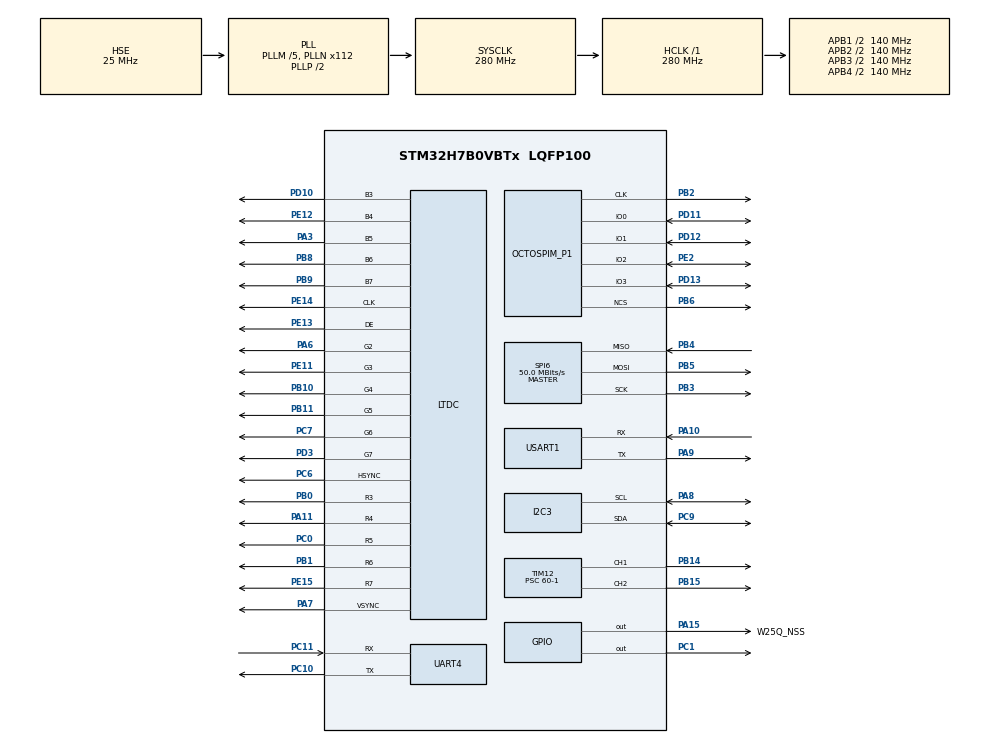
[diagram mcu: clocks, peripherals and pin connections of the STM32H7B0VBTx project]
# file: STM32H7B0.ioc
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ADC2.AWD1HighThreshold=0x3ffffff
ADC2.AWD1ITMode=ENABLE
ADC2.AWD1LowThreshold=0x4ccc
ADC2.Channel-0\#ChannelRegularConversion=ADC_CHANNEL_TEMPSENSOR
ADC2.ClockPrescaler=ADC_CLOCK_ASYNC_DIV8
ADC2.ContinuousConvMode=ENABLE
ADC2.EnableAnalogWatchDog1=true
ADC2.NbrOfConversionFlag=1
ADC2.OffsetNumber-0\#ChannelRegularConversion=ADC_OFFSET_NONE
ADC2.OffsetSignedSaturation-0\#ChannelRegularConversion=DISABLE
ADC2.Rank-0\#ChannelRegularConversion=1
ADC2.SamplingTime-0\#ChannelRegularConversion=ADC_SAMPLETIME_1CYCLE_5
ADC2.WatchdogChannel=ADC_CHANNEL_TEMPSENSOR
Bdma2.Request0=SPI6_TX
Bdma2.Request1=SPI6_RX
Bdma2.RequestsNb=2
Bdma2.SPI6_RX.1.Direction=DMA_PERIPH_TO_MEMORY
Bdma2.SPI6_RX.1.EventEnable=DISABLE
Bdma2.SPI6_RX.1.Instance=BDMA2_Channel2
Bdma2.SPI6_RX.1.MemDataAlignment=DMA_MDATAALIGN_BYTE
Bdma2.SPI6_RX.1.MemInc=DMA_MINC_ENABLE
Bdma2.SPI6_RX.1.Mode=DMA_NORMAL
Bdma2.SPI6_RX.1.PeriphDataAlignment=DMA_PDATAALIGN_BYTE
Bdma2.SPI6_RX.1.PeriphInc=DMA_PINC_DISABLE
Bdma2.SPI6_RX.1.Polarity=HAL_DMAMUX_REQ_GEN_RISING
Bdma2.SPI6_RX.1.Priority=DMA_PRIORITY_MEDIUM
Bdma2.SPI6_RX.1.RequestNumber=1
Bdma2.SPI6_RX.1.SignalID=NONE
Bdma2.SPI6_RX.1.SyncEnable=DISABLE
Bdma2.SPI6_RX.1.SyncPolarity=HAL_DMAMUX_SYNC_NO_EVENT
Bdma2.SPI6_RX.1.SyncRequestNumber=1
Bdma2.SPI6_RX.1.SyncSignalID=NONE
Bdma2.SPI6_TX.0.Direction=DMA_MEMORY_TO_PERIPH
Bdma2.SPI6_TX.0.EventEnable=DISABLE
Bdma2.SPI6_TX.0.Instance=BDMA2_Channel3
Bdma2.SPI6_TX.0.MemDataAlignment=DMA_MDATAALIGN_BYTE
Bdma2.SPI6_TX.0.MemInc=DMA_MINC_ENABLE
Bdma2.SPI6_TX.0.Mode=DMA_NORMAL
Bdma2.SPI6_TX.0.PeriphDataAlignment=DMA_PDATAALIGN_BYTE
Bdma2.SPI6_TX.0.PeriphInc=DMA_PINC_DISABLE
Bdma2.SPI6_TX.0.Polarity=HAL_DMAMUX_REQ_GEN_RISING
Bdma2.SPI6_TX.0.Priority=DMA_PRIORITY_MEDIUM
Bdma2.SPI6_TX.0.RequestNumber=1
Bdma2.SPI6_TX.0.SignalID=NONE
Bdma2.SPI6_TX.0.SyncEnable=DISABLE
Bdma2.SPI6_TX.0.SyncPolarity=HAL_DMAMUX_SYNC_NO_EVENT
Bdma2.SPI6_TX.0.SyncRequestNumber=1
Bdma2.SPI6_TX.0.SyncSignalID=NONE
CORTEX_M7.CPU_DCache=Enabled
CORTEX_M7.CPU_ICache=Enabled
CORTEX_M7.default_mode_Activation=1
DMA2D.ColorMode=DMA2D_OUTPUT_RGB565
Dma.ADC2.0.Direction=DMA_PERIPH_TO_MEMORY
Dma.ADC2.0.EventEnable=DISABLE
Dma.ADC2.0.FIFOMode=DMA_FIFOMODE_DISABLE
Dma.ADC2.0.Instance=DMA1_Stream0
Dma.ADC2.0.MemDataAlignment=DMA_MDATAALIGN_HALFWORD
Dma.ADC2.0.MemInc=DMA_MINC_ENABLE
Dma.ADC2.0.Mode=DMA_NORMAL
Dma.ADC2.0.PeriphDataAlignment=DMA_PDATAALIGN_HALFWORD
Dma.ADC2.0.PeriphInc=DMA_PINC_DISABLE
Dma.ADC2.0.Polarity=HAL_DMAMUX_REQ_GEN_RISING
Dma.ADC2.0.Priority=DMA_PRIORITY_LOW
Dma.ADC2.0.RequestNumber=1
Dma.ADC2.0.SignalID=NONE
Dma.ADC2.0.SyncEnable=DISABLE
Dma.ADC2.0.SyncPolarity=HAL_DMAMUX_SYNC_NO_EVENT
Dma.ADC2.0.SyncRequestNumber=1
Dma.ADC2.0.SyncSignalID=NONE
Dma.I2C3_RX.4.Direction=DMA_PERIPH_TO_MEMORY
Dma.I2C3_RX.4.EventEnable=DISABLE
Dma.I2C3_RX.4.FIFOMode=DMA_FIFOMODE_DISABLE
Dma.I2C3_RX.4.Instance=DMA1_Stream4
Dma.I2C3_RX.4.MemDataAlignment=DMA_MDATAALIGN_BYTE
Dma.I2C3_RX.4.MemInc=DMA_MINC_ENABLE
Dma.I2C3_RX.4.Mode=DMA_CIRCULAR
Dma.I2C3_RX.4.PeriphDataAlignment=DMA_PDATAALIGN_BYTE
Dma.I2C3_RX.4.PeriphInc=DMA_PINC_DISABLE
Dma.I2C3_RX.4.Polarity=HAL_DMAMUX_REQ_GEN_RISING
Dma.I2C3_RX.4.Priority=DMA_PRIORITY_LOW
Dma.I2C3_RX.4.RequestNumber=1
Dma.I2C3_RX.4.SignalID=NONE
Dma.I2C3_RX.4.SyncEnable=DISABLE
Dma.I2C3_RX.4.SyncPolarity=HAL_DMAMUX_SYNC_NO_EVENT
Dma.I2C3_RX.4.SyncRequestNumber=1
Dma.I2C3_RX.4.SyncSignalID=NONE
Dma.I2C3_TX.3.Direction=DMA_MEMORY_TO_PERIPH
Dma.I2C3_TX.3.EventEnable=DISABLE
Dma.I2C3_TX.3.FIFOMode=DMA_FIFOMODE_DISABLE
Dma.I2C3_TX.3.Instance=DMA1_Stream3
Dma.I2C3_TX.3.MemDataAlignment=DMA_MDATAALIGN_BYTE
Dma.I2C3_TX.3.MemInc=DMA_MINC_ENABLE
Dma.I2C3_TX.3.Mode=DMA_NORMAL
Dma.I2C3_TX.3.PeriphDataAlignment=DMA_PDATAALIGN_BYTE
Dma.I2C3_TX.3.PeriphInc=DMA_PINC_DISABLE
Dma.I2C3_TX.3.Polarity=HAL_DMAMUX_REQ_GEN_RISING
Dma.I2C3_TX.3.Priority=DMA_PRIORITY_LOW
Dma.I2C3_TX.3.RequestNumber=1
Dma.I2C3_TX.3.SignalID=NONE
Dma.I2C3_TX.3.SyncEnable=DISABLE
Dma.I2C3_TX.3.SyncPolarity=HAL_DMAMUX_SYNC_NO_EVENT
Dma.I2C3_TX.3.SyncRequestNumber=1
Dma.I2C3_TX.3.SyncSignalID=NONE
Dma.Request0=ADC2
Dma.Request1=USART1_RX
Dma.Request2=USART1_TX
Dma.Request3=I2C3_TX
Dma.Request4=I2C3_RX
Dma.Request5=UART4_RX
Dma.Request6=UART4_TX
Dma.UART4_RX.5.Direction=DMA_PERIPH_TO_MEMORY
Dma.UART4_RX.5.EventEnable=DISABLE
Dma.UART4_RX.5.FIFOMode=DMA_FIFOMODE_DISABLE
Dma.UART4_RX.5.Instance=DMA1_Stream5
Dma.UART4_RX.5.MemDataAlignment=DMA_MDATAALIGN_BYTE
Dma.UART4_RX.5.MemInc=DMA_MINC_ENABLE
Dma.UART4_RX.5.Mode=DMA_CIRCULAR
Dma.UART4_RX.5.PeriphDataAlignment=DMA_PDATAALIGN_BYTE
Dma.UART4_RX.5.PeriphInc=DMA_PINC_DISABLE
Dma.UART4_RX.5.Polarity=HAL_DMAMUX_REQ_GEN_RISING
Dma.UART4_RX.5.Priority=DMA_PRIORITY_LOW
Dma.UART4_RX.5.RequestNumber=1
Dma.UART4_RX.5.SignalID=NONE
Dma.UART4_RX.5.SyncEnable=DISABLE
Dma.UART4_RX.5.SyncPolarity=HAL_DMAMUX_SYNC_NO_EVENT
Dma.UART4_RX.5.SyncRequestNumber=1
Dma.UART4_RX.5.SyncSignalID=NONE
Dma.UART4_TX.6.Direction=DMA_MEMORY_TO_PERIPH
Dma.UART4_TX.6.EventEnable=DISABLE
Dma.UART4_TX.6.FIFOMode=DMA_FIFOMODE_DISABLE
Dma.UART4_TX.6.Instance=DMA1_Stream6
Dma.UART4_TX.6.MemDataAlignment=DMA_MDATAALIGN_BYTE
Dma.UART4_TX.6.MemInc=DMA_MINC_ENABLE
Dma.UART4_TX.6.Mode=DMA_NORMAL
Dma.UART4_TX.6.PeriphDataAlignment=DMA_PDATAALIGN_BYTE
Dma.UART4_TX.6.PeriphInc=DMA_PINC_DISABLE
Dma.UART4_TX.6.Polarity=HAL_DMAMUX_REQ_GEN_RISING
Dma.UART4_TX.6.Priority=DMA_PRIORITY_LOW
Dma.UART4_TX.6.RequestNumber=1
Dma.UART4_TX.6.SignalID=NONE
Dma.UART4_TX.6.SyncEnable=DISABLE
Dma.UART4_TX.6.SyncPolarity=HAL_DMAMUX_SYNC_NO_EVENT
Dma.UART4_TX.6.SyncRequestNumber=1
Dma.UART4_TX.6.SyncSignalID=NONE
Dma.USART1_RX.1.Direction=DMA_PERIPH_TO_MEMORY
Dma.USART1_RX.1.EventEnable=DISABLE
Dma.USART1_RX.1.FIFOMode=DMA_FIFOMODE_DISABLE
Dma.USART1_RX.1.Instance=DMA1_Stream1
Dma.USART1_RX.1.MemDataAlignment=DMA_MDATAALIGN_BYTE
Dma.USART1_RX.1.MemInc=DMA_MINC_ENABLE
Dma.USART1_RX.1.Mode=DMA_CIRCULAR
Dma.USART1_RX.1.PeriphDataAlignment=DMA_PDATAALIGN_BYTE
Dma.USART1_RX.1.PeriphInc=DMA_PINC_DISABLE
Dma.USART1_RX.1.Polarity=HAL_DMAMUX_REQ_GEN_RISING
Dma.USART1_RX.1.Priority=DMA_PRIORITY_MEDIUM
Dma.USART1_RX.1.RequestNumber=1
Dma.USART1_RX.1.SignalID=NONE
Dma.USART1_RX.1.SyncEnable=DISABLE
Dma.USART1_RX.1.SyncPolarity=HAL_DMAMUX_SYNC_NO_EVENT
Dma.USART1_RX.1.SyncRequestNumber=1
Dma.USART1_RX.1.SyncSignalID=NONE
Dma.USART1_TX.2.Direction=DMA_MEMORY_TO_PERIPH
Dma.USART1_TX.2.EventEnable=DISABLE
Dma.USART1_TX.2.FIFOMode=DMA_FIFOMODE_DISABLE
Dma.USART1_TX.2.Instance=DMA1_Stream2
Dma.USART1_TX.2.MemDataAlignment=DMA_MDATAALIGN_BYTE
Dma.USART1_TX.2.MemInc=DMA_MINC_ENABLE
Dma.USART1_TX.2.Mode=DMA_NORMAL
Dma.USART1_TX.2.PeriphDataAlignment=DMA_PDATAALIGN_BYTE
Dma.USART1_TX.2.PeriphInc=DMA_PINC_DISABLE
Dma.USART1_TX.2.Polarity=HAL_DMAMUX_REQ_GEN_RISING
Dma.USART1_TX.2.Priority=DMA_PRIORITY_MEDIUM
Dma.USART1_TX.2.RequestNumber=1
Dma.USART1_TX.2.SignalID=NONE
Dma.USART1_TX.2.SyncEnable=DISABLE
Dma.USART1_TX.2.SyncPolarity=HAL_DMAMUX_SYNC_NO_EVENT
Dma.USART1_TX.2.SyncRequestNumber=1
Dma.USART1_TX.2.SyncSignalID=NONE
FREERTOS.BinarySemaphores01=BinarySem_DebugOutPut,Dynamic,NULL
FREERTOS.Events01=Event_lowPower,Dynamic,NULL
FREERTOS.INCLUDE_xEventGroupSetBitFromISR=1
FREERTOS.Mutexes01=Mutex_Usart1,Dynamic,NULL
FREERTOS.Tasks01=defaultTask,24,128,StartDefaultTask,As weak,NULL,Dynamic,NULL,NULL;testTask,48,128,StartTasktest,As weak,NULL,Static,testTaskBuffer,testTaskControlBlock;lowPowerTask,24,128,StartTask_lowPower,As weak,NULL,Dynamic,NULL,NULL
FREERTOS.configENABLE_FPU=1
I2C3.Timing=0x20B0CCFF
LTDC.ActiveH=480
LTDC.ActiveW=800
LTDC.Alpha_L0=255
LTDC.FBStartAdress_L0=0x24000000
LTDC.HBP=80
LTDC.HFP=200
LTDC.HSync=1
LTDC.ImageHeight_L0=480
LTDC.ImageWidth_L0=800
LTDC.Layers=0
LTDC.PixelFormat_L0=LTDC_PIXEL_FORMAT_RGB565
LTDC.VBP=40
LTDC.VFP=22
LTDC.VSync=1
LTDC.WindowX1_L0=800
LTDC.WindowY1_L0=480
Mcu.Family=STM32H7
Mcu.Name=STM32H7B0VBTx
Mcu.Package=LQFP100
NVIC.ADC_IRQn=true\:5\:0\:false\:false\:true\:true\:true\:true\:true
NVIC.BDMA2_Channel2_IRQn=true\:5\:0\:false\:false\:true\:true\:false\:true\:true
NVIC.BDMA2_Channel3_IRQn=true\:5\:0\:false\:false\:true\:true\:false\:true\:true
NVIC.DMA1_Stream0_IRQn=true\:9\:0\:true\:false\:true\:true\:false\:true\:true
NVIC.DMA1_Stream1_IRQn=true\:9\:0\:true\:false\:true\:true\:false\:true\:true
NVIC.DMA1_Stream2_IRQn=true\:9\:0\:true\:false\:true\:true\:false\:true\:true
NVIC.DMA1_Stream3_IRQn=true\:5\:0\:false\:false\:true\:true\:false\:true\:true
NVIC.DMA1_Stream4_IRQn=true\:5\:0\:false\:false\:true\:true\:false\:true\:true
NVIC.DMA1_Stream5_IRQn=true\:5\:0\:false\:false\:true\:true\:false\:true\:true
NVIC.DMA1_Stream6_IRQn=true\:5\:0\:false\:false\:true\:true\:false\:true\:true
NVIC.DMA2D_IRQn=true\:6\:0\:true\:false\:true\:true\:true\:true\:true
NVIC.I2C3_ER_IRQn=true\:5\:0\:false\:false\:true\:true\:true\:true\:true
NVIC.I2C3_EV_IRQn=true\:5\:0\:false\:false\:true\:true\:true\:true\:true
NVIC.LTDC_IRQn=true\:6\:0\:true\:false\:true\:true\:true\:true\:true
NVIC.PriorityGroup=NVIC_PRIORITYGROUP_4
NVIC.SPI6_IRQn=true\:5\:0\:false\:false\:true\:true\:true\:true\:true
NVIC.TIM17_IRQn=true\:0\:0\:true\:false\:true\:false\:false\:true\:true
NVIC.TimeBase=TIM17_IRQn
NVIC.TimeBaseIP=TIM17
NVIC.UART4_IRQn=true\:5\:0\:false\:false\:true\:true\:true\:true\:true
NVIC.USART1_IRQn=true\:5\:0\:false\:false\:true\:true\:true\:true\:true
OCTOSPI1.ChipSelectBoundary=0
OCTOSPI1.ClockMode=HAL_OSPI_CLOCK_MODE_3
OCTOSPI1.ClockPrescaler=2
OCTOSPI1.DeviceSize=23
OCTOSPI1.FifoThreshold=8
OCTOSPI1.SampleShifting=HAL_OSPI_SAMPLE_SHIFTING_HALFCYCLE
PA10.Mode=Asynchronous
PA10.Signal=USART1_RX
PA11.GPIO_Speed=GPIO_SPEED_FREQ_VERY_HIGH
PA11.Mode=RGB565
PA11.Signal=LTDC_R4
PA15.GPIO_Label=W25Q_NSS
PA15.GPIO_Speed=GPIO_SPEED_FREQ_VERY_HIGH
PA15.PinState=GPIO_PIN_SET
PA15.Signal=GPIO_Output
PA3.GPIO_Speed=GPIO_SPEED_FREQ_VERY_HIGH
PA3.Mode=RGB565
PA3.Signal=LTDC_B5
PA6.GPIO_Speed=GPIO_SPEED_FREQ_VERY_HIGH
PA6.Mode=RGB565
PA6.Signal=LTDC_G2
PA7.GPIO_Speed=GPIO_SPEED_FREQ_VERY_HIGH
PA7.Mode=RGB565
PA7.Signal=LTDC_VSYNC
PA8.Mode=I2C
PA8.Signal=I2C3_SCL
PA9.Mode=Asynchronous
PA9.Signal=USART1_TX
PB0.GPIO_Speed=GPIO_SPEED_FREQ_VERY_HIGH
PB0.Mode=RGB565
PB0.Signal=LTDC_R3
PB1.GPIO_Speed=GPIO_SPEED_FREQ_VERY_HIGH
PB1.Mode=RGB565
PB1.Signal=LTDC_R6
PB10.GPIO_Speed=GPIO_SPEED_FREQ_VERY_HIGH
PB10.Mode=RGB565
PB10.Signal=LTDC_G4
PB11.GPIO_Speed=GPIO_SPEED_FREQ_VERY_HIGH
PB11.Mode=RGB565
PB11.Signal=LTDC_G5
PB14.Signal=S_TIM12_CH1
PB15.Signal=S_TIM12_CH2
PB2.Mode=O1_P1_CLK
PB2.Signal=OCTOSPIM_P1_CLK
PB3.GPIO_Speed=GPIO_SPEED_FREQ_VERY_HIGH
PB3.Mode=Full_Duplex_Master
PB3.Signal=SPI6_SCK
PB4.GPIO_Speed=GPIO_SPEED_FREQ_VERY_HIGH
PB4.Mode=Full_Duplex_Master
PB4.Signal=SPI6_MISO
PB5.GPIO_Speed=GPIO_SPEED_FREQ_VERY_HIGH
PB5.Mode=Full_Duplex_Master
PB5.Signal=SPI6_MOSI
PB6.Mode=OCTOSPI1_Port1_NCS
PB6.Signal=OCTOSPIM_P1_NCS
PB8.GPIO_Speed=GPIO_SPEED_FREQ_VERY_HIGH
PB8.Mode=RGB565
PB8.Signal=LTDC_B6
PB9.GPIO_Speed=GPIO_SPEED_FREQ_VERY_HIGH
PB9.Mode=RGB565
PB9.Signal=LTDC_B7
PC0.GPIO_Speed=GPIO_SPEED_FREQ_VERY_HIGH
PC0.Mode=RGB565
PC0.Signal=LTDC_R5
PC1.Signal=GPIO_Output
PC10.Mode=Asynchronous
PC10.Signal=UART4_TX
PC11.Mode=Asynchronous
PC11.Signal=UART4_RX
PC14-OSC32_IN.Mode=LSE-External-Oscillator
PC14-OSC32_IN.Signal=RCC_OSC32_IN
PC15-OSC32_OUT.Mode=LSE-External-Oscillator
PC15-OSC32_OUT.Signal=RCC_OSC32_OUT
PC6.GPIO_Speed=GPIO_SPEED_FREQ_VERY_HIGH
PC6.Mode=RGB565
PC6.Signal=LTDC_HSYNC
PC7.GPIO_Speed=GPIO_SPEED_FREQ_VERY_HIGH
PC7.Mode=RGB565
PC7.Signal=LTDC_G6
PC9.Mode=I2C
PC9.Signal=I2C3_SDA
PD10.GPIO_Speed=GPIO_SPEED_FREQ_VERY_HIGH
PD10.Mode=RGB565
PD10.Signal=LTDC_B3
PD11.Mode=OCTOSPI1_IOL_Port1L
PD11.Signal=OCTOSPIM_P1_IO0
PD12.Mode=OCTOSPI1_IOL_Port1L
PD12.Signal=OCTOSPIM_P1_IO1
PD13.Mode=OCTOSPI1_IOL_Port1L
PD13.Signal=OCTOSPIM_P1_IO3
PD3.GPIO_Speed=GPIO_SPEED_FREQ_VERY_HIGH
PD3.Mode=RGB565
PD3.Signal=LTDC_G7
PD5.Signal=USART2_TX
PE11.GPIO_Speed=GPIO_SPEED_FREQ_VERY_HIGH
PE11.Mode=RGB565
PE11.Signal=LTDC_G3
PE12.GPIO_Speed=GPIO_SPEED_FREQ_VERY_HIGH
PE12.Mode=RGB565
PE12.Signal=LTDC_B4
PE13.GPIO_Speed=GPIO_SPEED_FREQ_VERY_HIGH
PE13.Mode=RGB565
PE13.Signal=LTDC_DE
PE14.GPIO_Speed=GPIO_SPEED_FREQ_VERY_HIGH
PE14.Mode=RGB565
PE14.Signal=LTDC_CLK
PE15.GPIO_Speed=GPIO_SPEED_FREQ_VERY_HIGH
PE15.Mode=RGB565
PE15.Signal=LTDC_R7
PE2.Mode=OCTOSPI1_IOL_Port1L
PE2.Signal=OCTOSPIM_P1_IO2
PH0-OSC_IN.Mode=HSE-External-Oscillator
PH0-OSC_IN.Signal=RCC_OSC_IN
PH1-OSC_OUT.Mode=HSE-External-Oscillator
PH1-OSC_OUT.Signal=RCC_OSC_OUT
ProjectManager.HeapSize=0x16000
ProjectManager.StackSize=0x12000
ProjectManager.TargetToolchain=MDK-ARM V5.32
RCC.ADCFreq_Value=20000000
RCC.APB1Freq_Value=140000000
RCC.APB2Freq_Value=140000000
RCC.APB3Freq_Value=140000000
RCC.APB4Freq_Value=140000000
RCC.CDPPRE=RCC_APB3_DIV2
RCC.CDPPRE1=RCC_APB1_DIV2
RCC.CDPPRE2=RCC_APB2_DIV2
RCC.CortexFreq_Value=280000000
RCC.DIVM1=5
RCC.DIVM2=2
RCC.DIVM3=2
RCC.DIVN1=112
RCC.DIVN2=40
RCC.DIVN3=11
RCC.DIVP2=25
RCC.DIVQ2=5
RCC.DIVR3=1
RCC.HCLKFreq_Value=280000000
RCC.HSE_VALUE=25000000
RCC.PLL1_VCI_Range-AdvancedSettings=RCC_PLL1VCIRANGE_0
RCC.PLL2_VCI_Range-AdvancedSettings=RCC_PLL2VCIRANGE_1
RCC.PLL2_VCO_SEL-AdvancedSettings=RCC_PLL2VCOMEDIUM
RCC.PLLSourceVirtual=RCC_PLLSOURCE_HSE
RCC.SPI6CLockSelection=RCC_SPI6CLKSOURCE_PLL2
RCC.SRDPPRE=RCC_APB4_DIV2
RCC.SYSCLKFreq_VALUE=280000000
RCC.SYSCLKSource=RCC_SYSCLKSOURCE_PLLCLK
RCC.SupplySource=PWR_LDO_SUPPLY
RCC.USBFreq_Value=280000000
SH.S_TIM12_CH1.0=TIM12_CH1,PWM Generation1 CH1
SH.S_TIM12_CH2.0=TIM12_CH2,PWM Generation2 CH2
SPI6.BaudRatePrescaler=SPI_BAUDRATEPRESCALER_2
SPI6.CalculateBaudRate=50.0 MBits/s
SPI6.DataSize=SPI_DATASIZE_8BIT
SPI6.Direction=SPI_DIRECTION_2LINES
SPI6.FifoThreshold=SPI_FIFO_THRESHOLD_01DATA
SPI6.MasterKeepIOState=SPI_MASTER_KEEP_IO_STATE_DISABLE
SPI6.Mode=SPI_MODE_MASTER
SPI6.NSSPMode=SPI_NSS_PULSE_DISABLE
SPI6.VirtualType=VM_MASTER
TIM12.AutoReloadPreload=TIM_AUTORELOAD_PRELOAD_ENABLE
TIM12.Channel-PWM\ Generation1\ CH1=TIM_CHANNEL_1
TIM12.Channel-PWM\ Generation2\ CH2=TIM_CHANNEL_2
TIM12.Period=10000-1
TIM12.Prescaler=60-1
TIM12.Pulse-PWM\ Generation1\ CH1=4999
TIM12.Pulse-PWM\ Generation2\ CH2=4999
USART1.VirtualMode-Asynchronous=VM_ASYNC
VP_ADC2_TempSens_Input.Mode=IN-TempSens
VP_DMA2D_VS_DMA2D.Mode=DMA2D_Activate
VP_FREERTOS_VS_CMSIS_V2.Mode=CMSIS_V2
VP_OCTOSPI1_VS_quad.Mode=quad_mode
VP_SYS_VS_tim17.Mode=TIM17
VP_TIM12_VS_ClockSourceINT.Mode=Internal
board=custom

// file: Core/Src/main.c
/* USER CODE BEGIN Header */
/**
  ******************************************************************************
  * @file           : main.c
  * @brief          : Main program body
  ******************************************************************************
  * @attention
  *
  * Copyright (c) 2023 STMicroelectronics.
  * All rights reserved.
  *
  * This software is licensed under terms that can be found in the LICENSE file
  * in the root directory of this software component.
  * If no LICENSE file comes with this software, it is provided AS-IS.
  *
  ******************************************************************************
  */
/* USER CODE END Header */
#include "main.h"
#include "cmsis_os.h"
#include "adc.h"
#include "bdma2.h"
#include "dma.h"
#include "dma2d.h"
#include "i2c.h"
#include "ltdc.h"
#include "octospi.h"
#include "spi.h"
#include "tim.h"
#include "usart.h"
#include "gpio.h"

/* USER CODE BEGIN Includes */
#include "led.h"
#include "kfifo.h"
#include "klist.h"
#include "common.h"
#include "shell_port.h"
#include "shell_port.h"
#include "perf_counter.h"

#define LOG_TAG    "main"
#include <elog.h>
#include "led.h"
#include "common.h"

#include "semphr.h"
#include "adc.h"
#include "usart.h"
#include "com.h"

//#include "cm_backtrace.h"

/* USER CODE END Includes */

/* USER CODE BEGIN PV */
//		 extern com_uart_t com;
/* USER CODE END PV */

void SystemClock_Config(void);
void PeriphCommonClock_Config(void);
static void MPU_Initialize(void);
static void MPU_Config(void);
void MX_FREERTOS_Init(void);

int main(void)
{
  /* USER CODE BEGIN 1 */
//cm_backtrace_init("0.1","0.1","0.1");
  /* USER CODE END 1 */

  /* Enable I-Cache---------------------------------------------------------*/
  SCB_EnableICache();

  /* Enable D-Cache---------------------------------------------------------*/
  SCB_EnableDCache();

  /* MCU Configuration--------------------------------------------------------*/

  /* Reset of all peripherals, Initializes the Flash interface and the Systick. */
  HAL_Init();

  /* MPU Configuration--------------------------------------------------------*/
  MPU_Config();

  /* USER CODE BEGIN Init */
	SCB->CACR|=1<<2;

  /* USER CODE END Init */

  /* Configure the system clock */
  SystemClock_Config();

/* Configure the peripherals common clocks */
  PeriphCommonClock_Config();

  /* Initialize all configured peripherals */
  MX_GPIO_Init();
  MX_DMA_Init();
  MX_BDMA2_Init();
  MX_DMA2D_Init();
  MX_LTDC_Init();
  MX_I2C3_Init();
  MX_SPI6_Init();
  MX_ADC2_Init();
  MX_USART1_UART_Init();
  MX_OCTOSPI1_Init();
  MX_UART4_Init();
  MX_TIM12_Init();
  /* USER CODE BEGIN 2 */

	    //! setup system clock

    /*! \brief Update SystemCoreClock with the latest CPU frequency
     *!        If the function doesn't exist or doesn't work correctly,
     *!        Please update SystemCoreClock directly with the correct
     *!        system frequency in Hz.
     *!
     *!        extern volatile uint32_t SystemCoreClock;
     */
    SystemCoreClockUpdate();

    /*! \brief initialize perf_counter() and pass true if SysTick is
     *!        occupied by user applications or RTOS, otherwise pass
     *!        false.
     */
    init_cycle_counter(true);

extern int com_port_init(void);

    com_port_init();

  /* USER CODE END 2 */

  /* Init scheduler */
  osKernelInitialize();  /* Call init function for freertos objects (in freertos.c) */
  MX_FREERTOS_Init();

  /* Start scheduler */
  osKernelStart();

  /* We should never get here as control is now taken by the scheduler */
  /* Infinite loop */
  while (1)
  {

  }
}

void SystemClock_Config(void)
{
  RCC_OscInitTypeDef RCC_OscInitStruct = {0};
  RCC_ClkInitTypeDef RCC_ClkInitStruct = {0};

  /*AXI clock gating */
  RCC->CKGAENR = 0xFFFFFFFF;

  /** Supply configuration update enable
  */
  HAL_PWREx_ConfigSupply(PWR_LDO_SUPPLY);

  /** Configure the main internal regulator output voltage
  */
  __HAL_PWR_VOLTAGESCALING_CONFIG(PWR_REGULATOR_VOLTAGE_SCALE0);

  while(!__HAL_PWR_GET_FLAG(PWR_FLAG_VOSRDY)) {}

  /** Initializes the RCC Oscillators according to the specified parameters
  * in the RCC_OscInitTypeDef structure.
  */
  RCC_OscInitStruct.OscillatorType = RCC_OSCILLATORTYPE_HSE;
  RCC_OscInitStruct.HSEState = RCC_HSE_ON;
  RCC_OscInitStruct.PLL.PLLState = RCC_PLL_ON;
  RCC_OscInitStruct.PLL.PLLSource = RCC_PLLSOURCE_HSE;
  RCC_OscInitStruct.PLL.PLLM = 5;
  RCC_OscInitStruct.PLL.PLLN = 112;
  RCC_OscInitStruct.PLL.PLLP = 2;
  RCC_OscInitStruct.PLL.PLLQ = 2;
  RCC_OscInitStruct.PLL.PLLR = 2;
  RCC_OscInitStruct.PLL.PLLRGE = RCC_PLL1VCIRANGE_2;
  RCC_OscInitStruct.PLL.PLLVCOSEL = RCC_PLL1VCOWIDE;
  RCC_OscInitStruct.PLL.PLLFRACN = 0;
  if (HAL_RCC_OscConfig(&RCC_OscInitStruct) != HAL_OK)
  {
    Error_Handler();
  }

  /** Initializes the CPU, AHB and APB buses clocks
  */
  RCC_ClkInitStruct.ClockType = RCC_CLOCKTYPE_HCLK|RCC_CLOCKTYPE_SYSCLK
                              |RCC_CLOCKTYPE_PCLK1|RCC_CLOCKTYPE_PCLK2
                              |RCC_CLOCKTYPE_D3PCLK1|RCC_CLOCKTYPE_D1PCLK1;
  RCC_ClkInitStruct.SYSCLKSource = RCC_SYSCLKSOURCE_PLLCLK;
  RCC_ClkInitStruct.SYSCLKDivider = RCC_SYSCLK_DIV1;
  RCC_ClkInitStruct.AHBCLKDivider = RCC_HCLK_DIV1;
  RCC_ClkInitStruct.APB3CLKDivider = RCC_APB3_DIV2;
  RCC_ClkInitStruct.APB1CLKDivider = RCC_APB1_DIV2;
  RCC_ClkInitStruct.APB2CLKDivider = RCC_APB2_DIV2;
  RCC_ClkInitStruct.APB4CLKDivider = RCC_APB4_DIV2;

  if (HAL_RCC_ClockConfig(&RCC_ClkInitStruct, FLASH_LATENCY_6) != HAL_OK)
  {
    Error_Handler();
  }
}

void PeriphCommonClock_Config(void)
{
  RCC_PeriphCLKInitTypeDef PeriphClkInitStruct = {0};

  /** Initializes the peripherals clock
  */
  PeriphClkInitStruct.PeriphClockSelection = RCC_PERIPHCLK_SPI6|RCC_PERIPHCLK_ADC;
  PeriphClkInitStruct.PLL2.PLL2M = 2;
  PeriphClkInitStruct.PLL2.PLL2N = 40;
  PeriphClkInitStruct.PLL2.PLL2P = 25;
  PeriphClkInitStruct.PLL2.PLL2Q = 5;
  PeriphClkInitStruct.PLL2.PLL2R = 2;
  PeriphClkInitStruct.PLL2.PLL2RGE = RCC_PLL2VCIRANGE_3;
  PeriphClkInitStruct.PLL2.PLL2VCOSEL = RCC_PLL2VCOWIDE;
  PeriphClkInitStruct.PLL2.PLL2FRACN = 0;
  PeriphClkInitStruct.AdcClockSelection = RCC_ADCCLKSOURCE_PLL2;
  PeriphClkInitStruct.Spi6ClockSelection = RCC_SPI6CLKSOURCE_PLL2;
  if (HAL_RCCEx_PeriphCLKConfig(&PeriphClkInitStruct) != HAL_OK)
  {
    Error_Handler();
  }
}

/* MPU Configuration */

void MPU_Config(void)
{
  MPU_Region_InitTypeDef MPU_InitStruct = {0};

  /* Disables the MPU */
  HAL_MPU_Disable();

  /** Initializes and configures the Region and the memory to be protected
  */
  MPU_InitStruct.Enable = MPU_REGION_ENABLE;
  MPU_InitStruct.Number = MPU_REGION_NUMBER0;
  MPU_InitStruct.BaseAddress = 0x0;
  MPU_InitStruct.Size = MPU_REGION_SIZE_4GB;
  MPU_InitStruct.SubRegionDisable = 0x87;
  MPU_InitStruct.TypeExtField = MPU_TEX_LEVEL0;
  MPU_InitStruct.AccessPermission = MPU_REGION_NO_ACCESS;
  MPU_InitStruct.DisableExec = MPU_INSTRUCTION_ACCESS_DISABLE;
  MPU_InitStruct.IsShareable = MPU_ACCESS_SHAREABLE;
  MPU_InitStruct.IsCacheable = MPU_ACCESS_NOT_CACHEABLE;
  MPU_InitStruct.IsBufferable = MPU_ACCESS_NOT_BUFFERABLE;

  HAL_MPU_ConfigRegion(&MPU_InitStruct);
  /* Enables the MPU */
  HAL_MPU_Enable(MPU_PRIVILEGED_DEFAULT);

}

void HAL_TIM_PeriodElapsedCallback(TIM_HandleTypeDef *htim)
{
  if (htim->Instance == TIM17) {
    HAL_IncTick();
  }
}

void Error_Handler(void)
{
  __disable_irq();
  while (1)
  {
  }
}

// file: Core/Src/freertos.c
/* USER CODE BEGIN Header */
/**
  ******************************************************************************
  * File Name          : freertos.c
  * Description        : Code for freertos applications
  ******************************************************************************
  * @attention
  *
  * Copyright (c) 2023 STMicroelectronics.
  * All rights reserved.
  *
  * This software is licensed under terms that can be found in the LICENSE file
  * in the root directory of this software component.
  * If no LICENSE file comes with this software, it is provided AS-IS.
  *
  ******************************************************************************
  */
/* USER CODE END Header */

#include "FreeRTOS.h"
#include "task.h"
#include "main.h"
#include "cmsis_os.h"

/* USER CODE BEGIN Includes */
#define LOG_TAG    "freertos"

#include "led.h"
#include "common.h"
#include "semphr.h"
#include "adc.h"
#include "usart.h"
//#include "com_component.h"
#include "perf_counter.h"

#include "elog.h"
#include "tim.h"
#include "spi_w25q64.h"

/* USER CODE END Includes */

typedef StaticTask_t osStaticThreadDef_t;

/* USER CODE BEGIN Variables */
SemaphoreHandle_t xMutex_Usart1;

/* USER CODE END Variables */
/* Definitions for defaultTask */
osThreadId_t defaultTaskHandle;
const osThreadAttr_t defaultTask_attributes = {
  .name = "defaultTask",
  .stack_size = 128 * 4,
  .priority = (osPriority_t) osPriorityNormal,
};
/* Definitions for testTask */
osThreadId_t testTaskHandle;
uint32_t testTaskBuffer[ 128 ];
osStaticThreadDef_t testTaskControlBlock;
const osThreadAttr_t testTask_attributes = {
  .name = "testTask",
  .cb_mem = &testTaskControlBlock,
  .cb_size = sizeof(testTaskControlBlock),
  .stack_mem = &testTaskBuffer[0],
  .stack_size = sizeof(testTaskBuffer),
  .priority = (osPriority_t) osPriorityRealtime,
};
/* Definitions for lowPowerTask */
osThreadId_t lowPowerTaskHandle;
const osThreadAttr_t lowPowerTask_attributes = {
  .name = "lowPowerTask",
  .stack_size = 128 * 4,
  .priority = (osPriority_t) osPriorityNormal,
};
/* Definitions for Mutex_Usart1 */
osMutexId_t Mutex_Usart1Handle;
const osMutexAttr_t Mutex_Usart1_attributes = {
  .name = "Mutex_Usart1"
};
/* Definitions for BinarySem_DebugOutPut */
osSemaphoreId_t BinarySem_DebugOutPutHandle;
const osSemaphoreAttr_t BinarySem_DebugOutPut_attributes = {
  .name = "BinarySem_DebugOutPut"
};
/* Definitions for Event_lowPower */
osEventFlagsId_t Event_lowPowerHandle;
const osEventFlagsAttr_t Event_lowPower_attributes = {
  .name = "Event_lowPower"
};

void StartDefaultTask(void *argument);
void StartTasktest(void *argument);
void StartTask_lowPower(void *argument);

void MX_FREERTOS_Init(void); /* (MISRA C 2004 rule 8.1) */

void MX_FREERTOS_Init(void) {
  /* Create the mutex(es) */
  /* creation of Mutex_Usart1 */
  Mutex_Usart1Handle = osMutexNew(&Mutex_Usart1_attributes);

  /* USER CODE BEGIN RTOS_MUTEX */
  /* add mutexes, ... */
	    xMutex_Usart1 = xSemaphoreCreateRecursiveMutex( );

  /* USER CODE END RTOS_MUTEX */

  /* Create the semaphores(s) */
  /* creation of BinarySem_DebugOutPut */
  BinarySem_DebugOutPutHandle = osSemaphoreNew(1, 1, &BinarySem_DebugOutPut_attributes);

  /* Create the thread(s) */
  /* creation of defaultTask */
  defaultTaskHandle = osThreadNew(StartDefaultTask, NULL, &defaultTask_attributes);

  /* creation of testTask */
  testTaskHandle = osThreadNew(StartTasktest, NULL, &testTask_attributes);

  /* creation of lowPowerTask */
  lowPowerTaskHandle = osThreadNew(StartTask_lowPower, NULL, &lowPowerTask_attributes);

  /* creation of Event_lowPower */
  Event_lowPowerHandle = osEventFlagsNew(&Event_lowPower_attributes);

}

__weak void StartDefaultTask(void *argument)
{
  /* USER CODE BEGIN StartDefaultTask */

	uint8_t data;
  /* Infinite loop */
  for(;;)
  {

    osDelay(10);

  }
  /* USER CODE END StartDefaultTask */
}

/* USER CODE BEGIN Header_StartTasktest */

void HAL_ADC_LevelOutOfWindowCallback(ADC_HandleTypeDef *hadc)
{

	//log_d("this is a test of lowerpower callback\r\n");
	osEventFlagsSet(Event_lowPowerHandle, 0x001U);

	//while(1);

}

/**
* @brief Function implementing the testTask thread.
* @param argument: Not used
* @retval None
*/
/* USER CODE END Header_StartTasktest */
__weak void StartTasktest(void *argument)
{
  /* USER CODE BEGIN StartTasktest */
	extern void userShellInit(void);
	userShellInit();			//

		/* 初始化elog */
	elog_init();
	/* 设置每个级别的日志输出格*/
	elog_set_fmt(ELOG_LVL_ASSERT, ELOG_FMT_ALL);
	//输出日志级别信息和日志TAG
	elog_set_fmt(ELOG_LVL_ERROR, ELOG_FMT_LVL | ELOG_FMT_TAG);
	elog_set_fmt(ELOG_LVL_WARN, ELOG_FMT_LVL | ELOG_FMT_TAG);
	elog_set_fmt(ELOG_LVL_INFO, ELOG_FMT_LVL | ELOG_FMT_TAG);
	elog_set_fmt(ELOG_LVL_DEBUG, ELOG_FMT_LVL | ELOG_FMT_TAG);
	//除了时间、进程信息线程信息之外，其余全部输出
	//elog_set_fmt(ELOG_LVL_DEBUG, ELOG_FMT_ALL & ~(ELOG_FMT_TIME | ELOG_FMT_P_INFO | ELOG_FMT_T_INFO));

	elog_set_fmt(ELOG_LVL_VERBOSE, ELOG_FMT_ALL);
	elog_set_text_color_enabled(true);
	/* 启动elog */
	elog_start();

	extern void var_init(void);
	var_init();

	HAL_TIM_PWM_Start(&htim12,TIM_CHANNEL_1);
	HAL_TIM_PWM_Start(&htim12,TIM_CHANNEL_2);

  //SPI_W25Qxx_Init();
  /* Infinite loop */
  for(;;)
  {

    LED1_Toggle;

		osDelay(500);

//		    static char str[]="tast1234567890 12345\r\n";
//    com_tx(&com,(uint8_t*)str,sizeof(str));
//		 //com_communite(&com,&task,0);

  }
  /* USER CODE END StartTasktest */
}

/* USER CODE BEGIN Header_StartTask_lowPower */
uint32_t flags ;

void lowPowerHandle(void)
{
		if(flags==1){
			//log_d("Low power !! please charge\r\n");
		}
}

uint32_t ADC_ConvertedValue;

/**
* @brief Function implementing the lowPowerTask thread.
* @param argument: Not used
* @retval None
*/
/* USER CODE END Header_StartTask_lowPower */
__weak void StartTask_lowPower(void *argument)
{
  /* USER CODE BEGIN StartTask_lowPower */
	static int i=0;
  /* Infinite loop */
  for(;;)
  {
		//log_d("test1234567890");
		//log_d("%d\n\n",i++);
		    osDelay(60);

		//log_d("test1234567890");

  }
  /* USER CODE END StartTask_lowPower */
}

/* USER CODE BEGIN Application */
void HAL_ADC_ConvCpltCallback(ADC_HandleTypeDef *hadc)
{
	ADC_ConvertedValue = HAL_ADC_GetValue(hadc);

	//log_d("adc value %d\r\n",ADC_ConvertedValue);

  HAL_ADC_Start_IT(hadc); //�????启ADC中断转换

}

/* USER CODE END Application */
